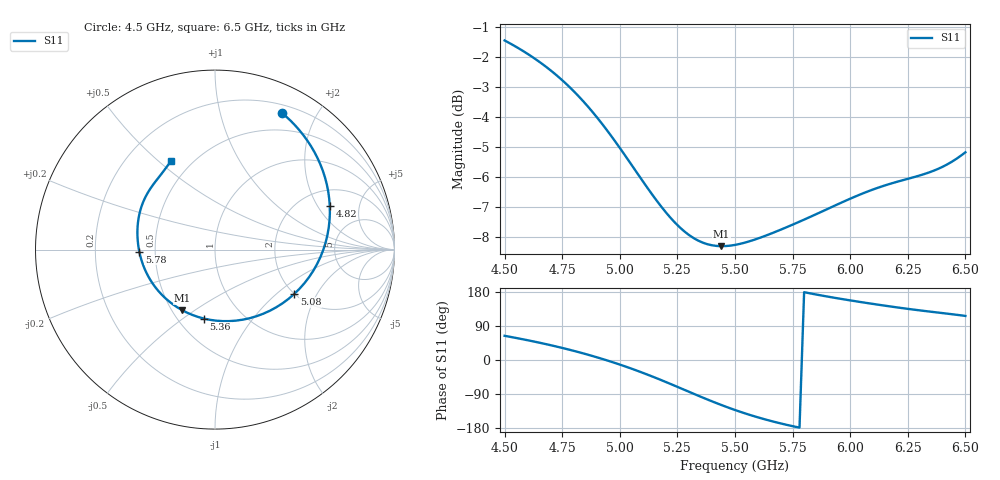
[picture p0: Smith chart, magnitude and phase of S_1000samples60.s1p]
! TOUCHSTONE file generated by CST MICROWAVE STUDIO
! Date and time: Wed Oct 26 20:41:57 2022
! Project name: L.cst
! Parameters = {Di=1.27; Epsilon_r=1.56; InnerDiameter=1.27; Length=2; Lf=10; Lg=60; OuterConductorThickness=0.2921; OuterDiameter=3.6; Wf=3; Wp=41.2; de=1.5; df=6.8; g=0.8; gx=2.36646; gy=1.6087; h=2.34; hf=1.524; px=12.1423; py=11.1372; w=9.7; wx=9.77587; wy=9.52845}
! Header version: 2018
! Port assignment regex: !\s*Touchstone port\s*([0-9]+)\s*=\s*(CST MWS port|CST DS port)\s*([0-9]+|Zmin|Zmax)\s*\(\"(.*)\"\)(\s*mode\s*([0-9]+))?.*
! Touchstone port assignment:
! Touchstone port 1 = CST MWS port 1 ("")
# GHz S DB R 50
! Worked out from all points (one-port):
!   101 points, 4.5 GHz to 6.5 GHz, reference 50 ohm
!   lowest |S11| = -8.3 dB at 5.44 GHz (marker M1), VSWR 2.25, Z = 28.2 - j22.3 ohm
!   |S11| at or under -10 dB: nowhere
!   S11 on the Smith chart (normalised r, x): 4.5 GHz: 0.29, +1.57; 4.82 GHz: 2.80, +2.58; 5.08 GHz: 1.99, -1.32; 5.36 GHz: 0.67, -0.60; 5.78 GHz: 0.41, -0.01; 6.5 GHz: 0.39, +0.55
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4.5  -1.44 63.8
4.56  -1.69 57.0
4.62  -1.99 49.7
4.7  -2.44 39.0
4.76  -2.83 30.3
4.82  -3.29 20.9
4.9  -4.00 7.2
4.94  -4.39 -0.2
5  -5.03 -12.1
5.08  -5.92 -29.3
5.14  -6.58 -43.3
5.18  -6.99 -53.1
5.26  -7.68 -73.4
5.3  -7.94 -83.8
5.36  -8.20 -99.1
5.44  -8.32 -118.6
5.5  -8.27 -131.9
5.56  -8.16 -144.1
5.62  -8.00 -154.9
5.68  -7.82 -164.6
5.76  -7.56 -175.9
5.78  -7.50 -178.5
5.88  -7.15 169.7
6  -6.73 157.3
6.12  -6.36 146.1
6.26  -6.04 134.2
6.4  -5.66 123.8
6.5  -5.18 116.3
